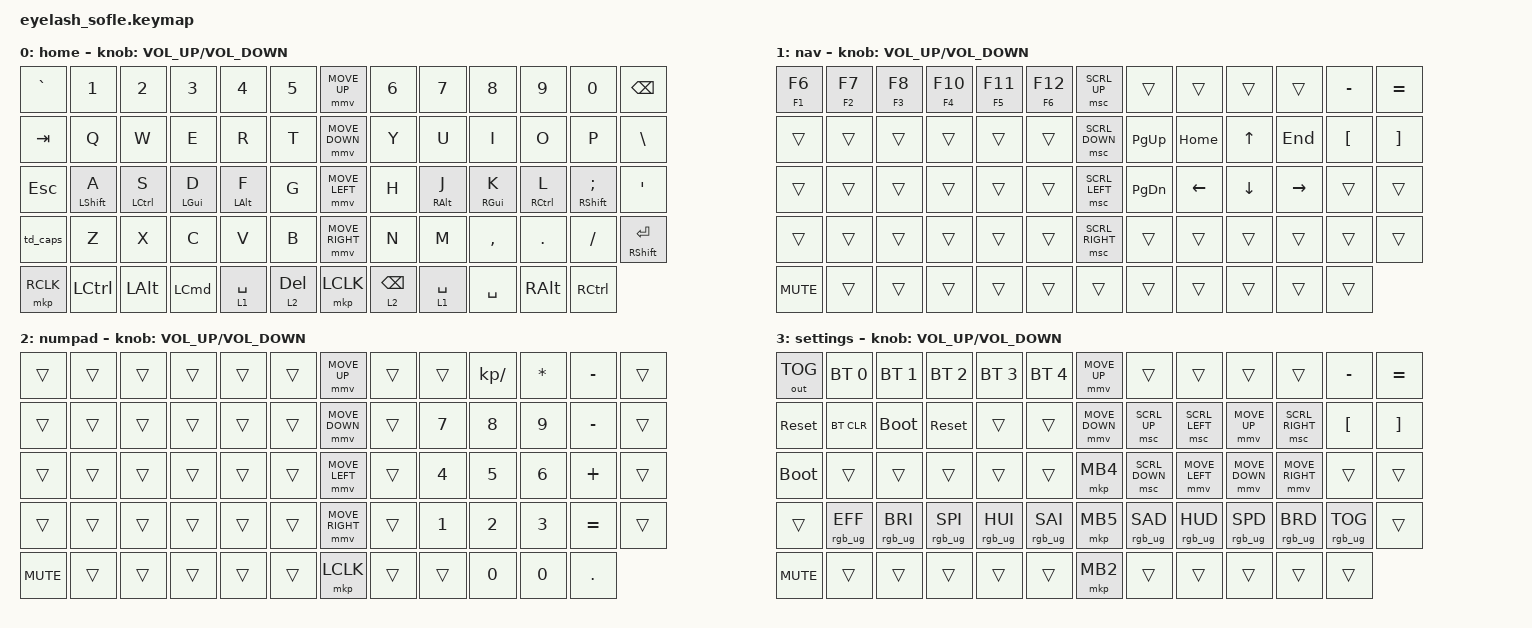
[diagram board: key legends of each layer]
#include <dt-bindings/zmk/mouse.h>
#include <input/processors.dtsi>
#include <behaviors.dtsi>
#include <dt-bindings/zmk/bt.h>
#include <dt-bindings/zmk/keys.h>
#include <dt-bindings/zmk/outputs.h>
#include <dt-bindings/zmk/pointing.h>
#include <dt-bindings/zmk/rgb.h>

/*

   &mmv_input_listener {
       input-processors = <&zip_xy_scaler 2 1>;
   };

   &msc_input_listener {
       input-processors = <&zip_xy_scaler 2 1>;
   };

 */

#define ZMK_MOUSE_DEFAULT_MOVE_VAL 1200  // 600
#define ZMK_MOUSE_DEFAULT_SCRL_VAL 20    // 10

/ {
    behaviors {
        mmv {
            acceleration-exponent = <1>;      // 1
            time-to-max-speed-ms = <900>;    // 40
            delay-ms = <0>;                   // 0
        };

        msc {
            acceleration-exponent = <1>;      // 0
            time-to-max-speed-ms = <400>;      // 500
            delay-ms = <0>;                   //   10
        };
    };

    scroll_encoder: scroll_encoder {
        compatible = "zmk,behavior-sensor-rotate";
        #sensor-binding-cells = <0>;
        bindings = <&msc SCRL_DOWN>, <&msc SCRL_UP>;

        tap-ms = <30>;
    };

    td_caps: td_caps {
        compatible = "zmk,behavior-tap-dance";
        label = "TD_CAPS";
        #binding-cells = <0>;
        bindings = <&kp LEFT_SHIFT>, <&kp CAPS>;
    };

    LshA: LshA {
        compatible = "zmk,behavior-hold-tap";
        label = "LSHA";
        bindings = <&kp>, <&kp>;

        #binding-cells = <2>;
        tapping-term-ms = <500>;
        flavor = "balanced";
        hold-trigger-on-release;
        require-prior-idle-ms = <50>;
    };

    Rhrms: Rhrms {
        compatible = "zmk,behavior-hold-tap";
        label = "RHRMS";
        bindings = <&kp>, <&kp>;

        #binding-cells = <2>;
        tapping-term-ms = <500>;
        flavor = "balanced";
        hold-trigger-on-release;
        require-prior-idle-ms = <50>;
    };

    keymap {
        compatible = "zmk,keymap";

        layer0 {
            bindings = <
&kp GRAVE  &kp N1         &kp N2         &kp N3            &kp N4            &kp N5          &mmv MOVE_UP     &kp N6           &kp N7              &kp N8              &kp N9          &kp N0             &kp BACKSPACE
&kp TAB    &kp Q          &kp W          &kp E             &kp R             &kp T           &mmv MOVE_DOWN   &kp Y            &kp U               &kp I               &kp O           &kp P              &kp BSLH
&kp ESC    &LshA LSHFT A  &LshA LCTRL S  &LshA LEFT_GUI D  &LshA LEFT_ALT F  &kp G           &mmv MOVE_LEFT   &kp H            &Rhrms RIGHT_ALT J  &Rhrms RIGHT_GUI K  &Rhrms RCTRL L  &Rhrms RSHFT SEMI  &kp APOS
&td_caps   &kp Z          &kp X          &kp C             &kp V             &kp B           &mmv MOVE_RIGHT  &kp N            &kp M               &kp COMMA           &kp DOT         &kp FSLH           &mt RIGHT_SHIFT ENTER
&mkp RCLK  &kp LCTRL      &kp LEFT_ALT   &kp LEFT_COMMAND  &lt 1 SPACE       &lt 2 DELETE    &mkp LCLK        &lt 2 BACKSPACE  &lt 1 SPACE         &kp SPACE           &kp RALT        &kp RCTRL
            >;

            sensor-bindings = <&inc_dec_kp C_VOLUME_UP C_VOLUME_DOWN>;
            display-name = "home";
        };

        layer_1 {
            bindings = <
&mt F1 F6   &mt F2 F7  &mt F3 F8  &mt F4 F10  &mt F5 F11  &mt F6 F12    &msc SCRL_UP     &trans         &trans          &trans          &trans           &kp MINUS         &kp EQUAL
&trans      &trans     &trans     &trans      &trans      &trans        &msc SCRL_DOWN   &kp PAGE_UP    &kp HOME        &kp UP_ARROW    &kp END          &kp LEFT_BRACKET  &kp RBKT
&trans      &trans     &trans     &trans      &trans      &trans        &msc SCRL_LEFT   &kp PAGE_DOWN  &kp LEFT_ARROW  &kp DOWN_ARROW  &kp RIGHT_ARROW  &trans            &trans
&trans      &trans     &trans     &trans      &trans      &trans        &msc SCRL_RIGHT  &trans         &trans          &trans          &trans           &trans            &trans
&kp K_MUTE  &trans     &trans     &trans      &trans      &trans        &trans           &trans         &trans          &trans          &trans           &trans
            >;

            sensor-bindings = <&inc_dec_kp C_VOLUME_UP C_VOLUME_DOWN>;
            label = "nav";
        };

        layer_2 {
            bindings = <
&trans      &trans  &trans  &trans  &trans  &trans    &mmv MOVE_UP     &trans  &trans        &kp KP_SLASH  &kp ASTERISK  &kp MINUS  &trans
&trans      &trans  &trans  &trans  &trans  &trans    &mmv MOVE_DOWN   &trans  &kp NUMBER_7  &kp NUMBER_8  &kp NUMBER_9  &kp MINUS  &trans
&trans      &trans  &trans  &trans  &trans  &trans    &mmv MOVE_LEFT   &trans  &kp NUMBER_4  &kp N5        &kp NUMBER_6  &kp PLUS   &trans
&trans      &trans  &trans  &trans  &trans  &trans    &mmv MOVE_RIGHT  &trans  &kp NUMBER_1  &kp NUMBER_2  &kp NUMBER_3  &kp EQUAL  &trans
&kp K_MUTE  &trans  &trans  &trans  &trans  &trans    &mkp LCLK        &trans  &trans        &kp N0        &kp NUMBER_0  &kp DOT
            >;

            sensor-bindings = <&inc_dec_kp C_VOLUME_UP C_VOLUME_DOWN>;
            label = "numpad";
        };

        layer_3 {
            bindings = <
&out OUT_TOG  &bt BT_SEL 0     &bt BT_SEL 1     &bt BT_SEL 2     &bt BT_SEL 3     &bt BT_SEL 4       &mmv MOVE_UP    &trans           &trans           &trans           &trans           &kp MINUS         &kp EQUAL
&sys_reset    &bt BT_CLR       &bootloader      &sys_reset       &trans           &trans             &mmv MOVE_DOWN  &msc SCRL_UP     &msc SCRL_LEFT   &mmv MOVE_UP     &msc SCRL_RIGHT  &kp LEFT_BRACKET  &kp RIGHT_BRACKET
&bootloader   &trans           &trans           &trans           &trans           &trans             &mkp MB4        &msc SCRL_DOWN   &mmv MOVE_LEFT   &mmv MOVE_DOWN   &mmv MOVE_RIGHT  &trans            &trans
&trans        &rgb_ug RGB_EFF  &rgb_ug RGB_BRI  &rgb_ug RGB_SPI  &rgb_ug RGB_HUI  &rgb_ug RGB_SAI    &mkp MB5        &rgb_ug RGB_SAD  &rgb_ug RGB_HUD  &rgb_ug RGB_SPD  &rgb_ug RGB_BRD  &rgb_ug RGB_TOG   &trans
&kp C_MUTE    &trans           &trans           &trans           &trans           &trans             &mkp MB2        &trans           &trans           &trans           &trans           &trans
            >;

            display-name = "settings";
            sensor-bindings = <&inc_dec_kp C_VOLUME_UP C_VOLUME_DOWN>;
        };
    };

    conditional_layers {
        compatible = "zmk,conditional-layers";

        layer_3 {
            if-layers = <2 1>;
            then-layer = <3>;
        };
    };
};
